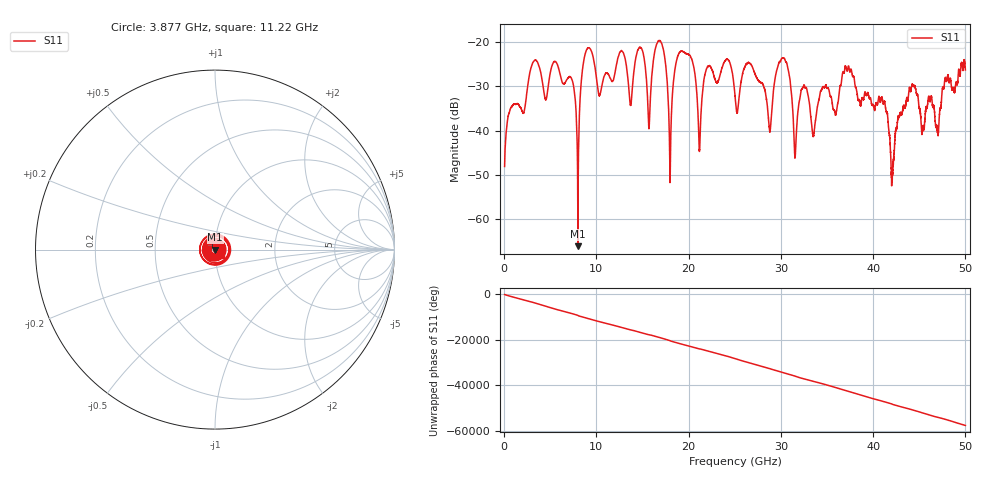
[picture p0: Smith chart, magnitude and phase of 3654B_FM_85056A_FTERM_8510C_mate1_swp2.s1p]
!Created with skrf (http://scikit-rf.org).
# Hz S RI R 50.0
!freq ReS11 ImS11
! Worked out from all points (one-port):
!   10001 points, 45 MHz to 50 GHz, reference 50 ohm
!   lowest |S11| = -66.1 dB at 7.998 GHz (marker M1), VSWR 1.00, Z = 50 - j0.0319 ohm
!   |S11| at or under -10 dB: start of sweep to end of sweep
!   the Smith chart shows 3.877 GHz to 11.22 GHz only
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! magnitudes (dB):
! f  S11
! 45 MHz  -48.1
! 3.207 GHz  -24.3
! 6.289 GHz  -29.0
! 7.378 GHz  -28.6
! 7.998 GHz  -66.1
! 8.952 GHz  -21.7
! 10.35 GHz  -32.0
! 12.53 GHz  -22.3
! 13.7 GHz  -34.3
! 14.87 GHz  -21.3
! 15.7 GHz  -39.5
! 16.94 GHz  -19.8
! 18 GHz  -49.3
! 18.78 GHz  -23.4
! 20.34 GHz  -23.8
! 21.17 GHz  -44.7
! 22.12 GHz  -25.5
! 25.02 GHz  -32.1
! 26.63 GHz  -24.8
! 28.8 GHz  -40.3
! 30.25 GHz  -23.6
! 31.27 GHz  -34.7
! 37.51 GHz  -26.6
! 41.11 GHz  -34.0
! 42.08 GHz  -49.6
! 43.76 GHz  -33.3
! 46.94 GHz  -39.5
! 50 GHz  -26.3
